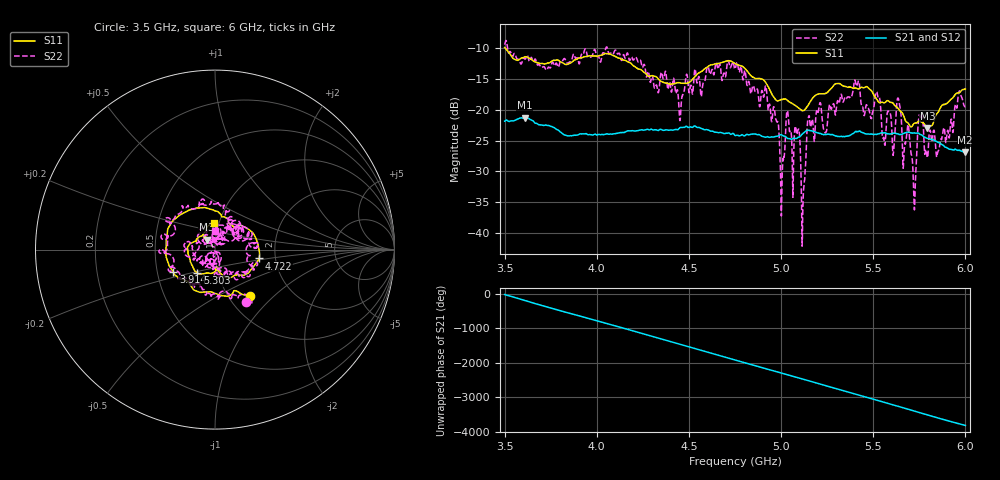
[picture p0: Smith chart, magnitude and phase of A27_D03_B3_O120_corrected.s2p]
! Created with skrf 1.9.0 (http://scikit-rf.org).
# Hz S RI R 50.0
!freq ReS11 ImS11 ReS21 ImS21 ReS12 ImS12 ReS22 ImS22
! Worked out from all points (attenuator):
!   1601 points, 3.5 GHz to 6 GHz, reference 50 ohm
!   highest |S21| = -21.30 dB at 3.609 GHz (marker M1); lowest = -26.9 dB at 5.998 GHz (marker M2)
!   lowest |S11| = -22.9 dB at 5.794 GHz (marker M3), VSWR 1.15, Z = 45.4 + j5.05 ohm
!   |S11| at or under -10 dB: 3.505 GHz to end of sweep
!   |S22| runs from -42.2 to -8.7 dB; largest |S21 - S12| = 0.00099
!   S11 on the Smith chart (normalised r, x): 3.5 GHz: 1.25, -0.72; 3.914 GHz: 0.61, -0.16; 4.722 GHz: 1.64, -0.17; 5.303 GHz: 0.80, -0.21; 6 GHz: 0.95, +0.29
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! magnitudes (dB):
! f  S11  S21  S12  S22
! 3.5 GHz  -9.9  -21.8  -21.8  -9.4
! 3.609 GHz  -11.4  -21.3  -21.3  -11.7
! 3.914 GHz  -11.6  -23.9  -23.9  -11.2
! 3.917 GHz  -11.6  -23.9  -23.9  -11.0
! 4.334 GHz  -15.0  -23.3  -23.3  -17.2
! 4.722 GHz  -12.0  -23.9  -23.8  -13.0
! 4.75 GHz  -12.5  -24.2  -24.1  -13.4
! 4.969 GHz  -18.3  -24.3  -24.3  -21.1
! 5.006 GHz  -18.3  -24.1  -24.1  -30.3
! 5.034 GHz  -18.5  -24.6  -24.6  -20.2
! 5.088 GHz  -19.5  -24.6  -24.6  -23.8
! 5.12 GHz  -20.1  -23.8  -23.7  -34.0
! 5.167 GHz  -18.3  -23.4  -23.4  -21.6
! 5.303 GHz  -15.7  -24.3  -24.2  -19.0
! 5.584 GHz  -18.6  -23.9  -23.9  -20.2
! 5.611 GHz  -19.0  -23.8  -23.7  -26.7
! 5.639 GHz  -19.9  -24.0  -24.0  -18.5
! 5.722 GHz  -22.2  -23.8  -23.7  -35.3
! 5.755 GHz  -21.9  -24.0  -23.9  -21.1
! 5.794 GHz  -22.9  -24.7  -24.6  -27.8
! 5.998 GHz  -16.7  -26.9  -26.8  -19.5
! 6 GHz  -16.6  -26.9  -26.8  -19.5
